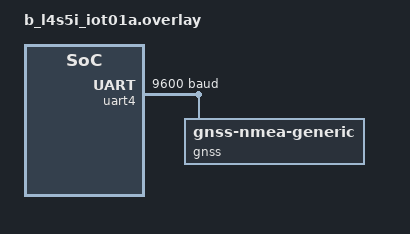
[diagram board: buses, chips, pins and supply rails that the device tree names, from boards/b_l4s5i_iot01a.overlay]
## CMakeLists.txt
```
# Copyright (c) 2023 Trackunit Corporation
# SPDX-License-Identifier: Apache-2.0

cmake_minimum_required(VERSION 3.20.0)
find_package(Zephyr REQUIRED HINTS $ENV{ZEPHYR_BASE})
project(zephyr_gnss_sample)

target_sources(app PRIVATE src/main.c)
```

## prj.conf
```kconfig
# Copyright (c) 2023 Trackunit Corporation
# SPDX-License-Identifier: Apache-2.0

CONFIG_GNSS=y
CONFIG_GNSS_SATELLITES=y
CONFIG_LOG=y
CONFIG_LOG_BUFFER_SIZE=8192
CONFIG_GNSS_DUMP_TO_LOG=n
CONFIG_GNSS_LOG_LEVEL_DBG=y
```

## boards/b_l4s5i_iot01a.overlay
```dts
 / {
	aliases {
		gnss = &gnss;
	};
};
 
 &uart4 {
	status = "okay";
	current-speed = <9600>;
	gnss: gnss-nmea-generic {
			compatible = "gnss-nmea-generic";
	};
};
```

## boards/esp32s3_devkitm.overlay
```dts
 / {
	aliases {
		gnss = &gnssdev;
	};
};

&uart1 {
	status = "okay";
	current-speed = <9600>;
	pinctrl-0 = <&uart1_pins>;
	pinctrl-names = "default";
	gnssdev: gnss-nmea-generic {
			compatible = "gnss-nmea-generic";
	};
};

&pinctrl {
	uart1_pins: uart1_pins {
		group1 {
			pinmux = <UART1_TX_GPIO17>;
			output-high;
		};
		group2 {
			pinmux = <UART1_RX_GPIO18>;
			bias-pull-up;
		};
	};
};
```

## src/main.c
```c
/**
 * @file main.c
 * @author Jeronimo Agullo (jeronimoagullo97@gmail.com)
 * @brief 
 * @version 1.0
 * @date 2024-04-08
 * 
 * @copyright Copyright (c) 2024
 * 
 */

#include <zephyr/device.h>
#include <zephyr/drivers/gnss.h>
#include <zephyr/kernel.h>

#include <zephyr/logging/log.h>
LOG_MODULE_REGISTER(zephyr_gnss_sample, LOG_LEVEL_DBG);

static void gnss_data_cb(const struct device *dev, const struct gnss_data *data)
{
	
	if (data->info.fix_status != GNSS_FIX_STATUS_NO_FIX) {
		LOG_INF("date: %02d:%02d:%02d:%03d %02d-%02d-%04d", 
				data->utc.hour, data->utc.minute, data->utc.millisecond/1000, data->utc.millisecond%1000, 
				data->utc.month_day, data->utc.month, data->utc.century_year + 2000);
		LOG_INF("%s location (%lld, %lld) with %d tracked satellites", 
				dev->name, data->nav_data.latitude, data->nav_data.longitude, data->info.satellites_cnt);
	} else {
		LOG_INF("no fix. Searching sattelites...");
	}
}

GNSS_DATA_CALLBACK_DEFINE(DEVICE_DT_GET(DT_ALIAS(gnss)), gnss_data_cb);

#if CONFIG_GNSS_SATELLITES
static void gnss_satellites_cb(const struct device *dev, const struct gnss_satellite *satellites,
			       uint16_t size)
{
	LOG_INF("%s reported %u satellites!", dev->name, size);
}
#endif

GNSS_SATELLITES_CALLBACK_DEFINE(DEVICE_DT_GET(DT_ALIAS(gnss)), gnss_satellites_cb);

int main(void)
{
	return 0;
}
```
